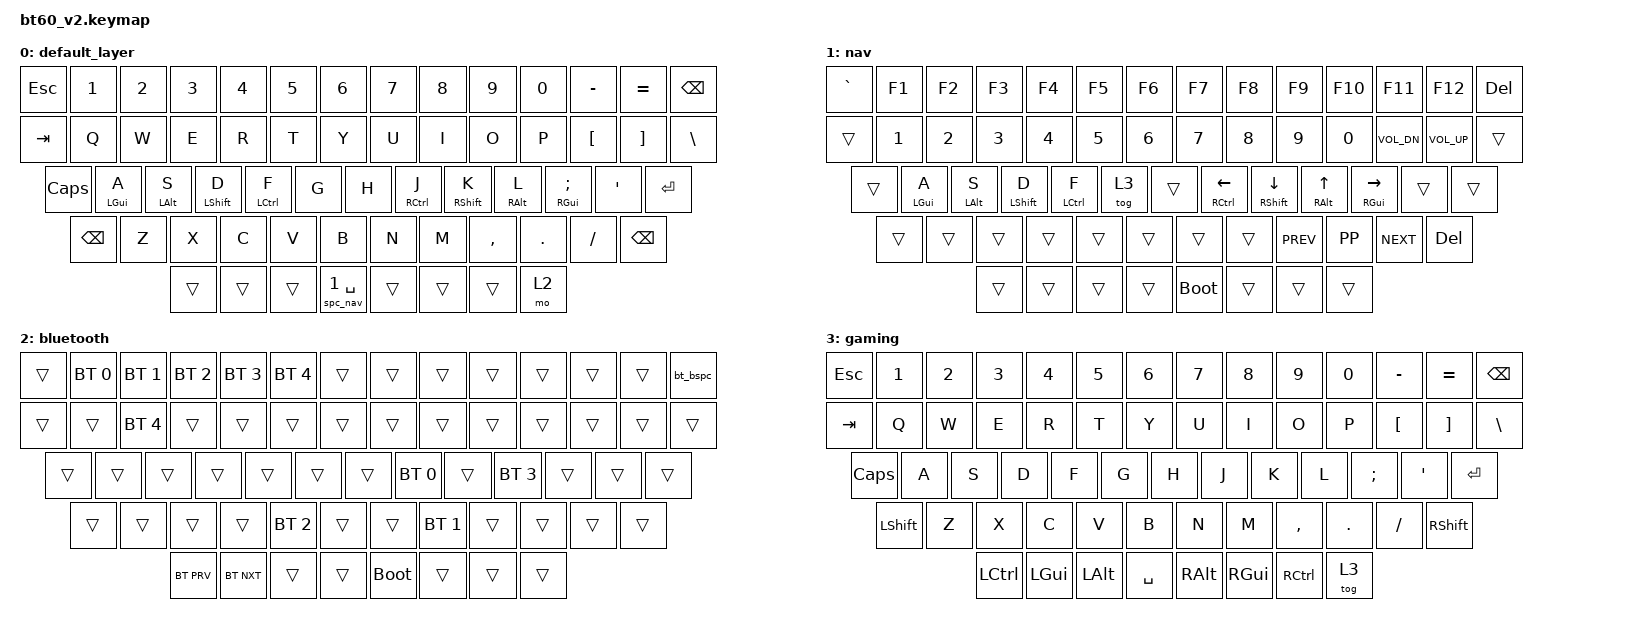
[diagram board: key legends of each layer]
#include <behaviors.dtsi>
#include <dt-bindings/zmk/keys.h>
#include <dt-bindings/zmk/bt.h>
#include <dt-bindings/zmk/rgb.h>
#include <dt-bindings/zmk/backlight.h>

// Include modular configuration files
#include "behaviors.dtsi"
#include "combos.dtsi"


/ {
  
  chosen {
    zmk,physical-layout = &layout_60_ansi;
  };

  keymap {
    compatible = "zmk,keymap";
    
    default_layer {
        // ------------------------------------------------------------------------------------------
        // | ESC |  1  |  2  |  3  |  4  |  5  |  6  |  7  |  8  |  9  |  0  |  -  |  =  |   BSPC   |
        // | TAB  |  Q  |  W  |  E  |  R  |  T  |  Y  |  U  |  I  |  O  |  P  |  [  |  ]  |   \     |
        // | CAPS  |GUI/A|ALT/S|SFT/D|CTL/F|  G  |  H  |CTL/J|SFT/K|ALT/L|GUI/;|  '  |     ENTER    |
        // |  BSPC    |  Z  |  X  |  C  |  V  |  B  |  N  |  M  |  ,  |  .  | /   |      BSPC     |
        // |  ---  |  ---  |  ---  |            SPACE               | --- | --- | --- |   FN   |
        // ------------------------------------------------------------------------------------------
      bindings = <

        &kp ESC &kp N1 &kp N2 &kp N3 &kp N4 &kp N5 &kp N6 &kp N7 &kp  N8   &kp  N9 &kp  N0  &kp MINUS &kp EQUAL &kp BSPC
        &kp TAB  &kp Q  &kp W  &kp E  &kp R  &kp T  &kp Y  &kp U  &kp  I    &kp  O  &kp  P   &kp LBKT &kp RBKT   &kp BSLH
        &kp CAPS  &hml LGUI A  &hml LALT S  &hml LSHFT D  &hml LCTRL F  &kp G  &kp H  &hmr RCTRL J  &hmr RSHFT K    &hmr RALT L  &hmr RGUI SEMI &kp SQT            &kp RET
        &kp BSPC  &kp Z  &kp X  &kp C  &kp V  &kp B  &kp N  &kp M  &kp COMMA &kp DOT &kp FSLH                &kp BSPC
        &trans &trans &trans            &spc_nav 1 SPACE                          &trans  &trans &trans    &mo 2
      >;
    };

    nav {
        // ------------------------------------------------------------------------------------------
        // |GRAVE| F1  | F2  | F3  | F4  | F5  | F6  | F7  | F8  | F9  | F10 | F11 | F12 |    DEL   |
        // |      | 1   | 2   | 3   | 4   | 5   | 6   | 7   | 8   | 9   | 0   | V- | V+ |          |
        // | ---   |GUI/A|ALT/S|SFT/D|CTL/F|GAME|     |CTL/←|SFT/↓|ALT/↑|GUI/→| --- |     ---      |
        // |          |     |     |     |     |     |     |     | PREV | PLAY | NEXT |     DEL      |
        // |     |     |       |            ---                |BOOT |     |     |     |
        // ------------------------------------------------------------------------------------------
      bindings = <
        &kp GRAVE &kp F1 &kp F2 &kp F3 &kp F4 &kp F5 &kp F6 &kp F7 &kp F8 &kp F9 &kp F10 &kp F11 &kp F12 &kp DEL
        &trans &kp N1 &kp N2 &kp N3 &kp N4 &kp N5 &kp N6 &kp N7 &kp N8 &kp N9 &kp N0 &kp C_VOL_DN &kp C_VOL_UP &trans
        &trans &hml LGUI A &hml LALT S &hml LSHFT D &hml LCTRL F &tog 3 &trans &hmr RCTRL LEFT &hmr RSHFT DOWN &hmr RALT UP &hmr RGUI RIGHT &trans &trans
        &trans &trans &trans &trans &trans &trans &trans &trans &kp K_PREV &kp K_PP &kp K_NEXT &kp DEL
        &trans &trans &trans &trans &bootloader &trans &trans &trans
      >;
    };
    
    bluetooth {
        // ------------------------------------------------------------------------------------------
        // | --- | BT1 | BT2 | BT3 | BT4 | BT5 | --- | --- | --- | --- | --- | --- | --- |BT_CLR/ALL|
        // | ---  | --- | BT5 | --- | --- | --- | --- | --- | --- | --- | --- | --- | --- |   ---    |
        // | ---   | --- | --- | --- | --- | --- | --- | BT1 | --- | BT4 | --- | --- |     ---      |
        // |  ---     | --- | --- | --- | BT3 | --- | --- | BT2 | --- | --- | --- |      ---     |
        // |BT_PRV |BT_NXT | ---   |            ---                |BOOT | --- | --- | --- |
        // ------------------------------------------------------------------------------------------
        // BT_CLR/ALL = Clear current profile, Shift+BT_CLR/ALL = Clear all profiles
      bindings = <
        &trans &bt BT_SEL 0 &bt BT_SEL 1 &bt BT_SEL 2 &bt BT_SEL 3 &bt BT_SEL 4 &trans &trans &trans &trans &trans &trans &trans &bt_bspc
        &trans &trans &bt BT_SEL 4 &trans &trans &trans &trans &trans &trans &trans &trans &trans &trans &trans
        &trans &trans &trans &trans &trans &trans &trans &bt BT_SEL 0 &trans &bt BT_SEL 3 &trans &trans &trans
        &trans &trans &trans &trans &bt BT_SEL 2 &trans &trans &bt BT_SEL 1 &trans &trans &trans &trans
        &bt BT_PRV &bt BT_NXT &trans &trans &bootloader &trans &trans &trans
      >;
    };
    
    gaming {
        // Gaming layer - No homerow mods
        // Toggle on/off with FN+G
        // ------------------------------------------------------------------------------------------
        // | ESC |  1  |  2  |  3  |  4  |  5  |  6  |  7  |  8  |  9  |  0  |  -  |  =  |   BSPC   |
        // | TAB  |  Q  |  W  |  E  |  R  |  T  |  Y  |  U  |  I  |  O  |  P  |  [  |  ]  |   \     |
        // | CAPS  |  A  |  S  |  D  |  F  |  G  |  H  |  J  |  K  |  L  |  ;  |  '  |     ENTER    |
        // |  SHIFT    |  Z  |  X  |  C  |  V  |  B  |  N  |  M  |  ,  |  .  | /   |      SHIFT     |
        // |  CTL  |  GUI  |  ALT  |            SPACE                | ALT | GUI | CTL |   FN   |
        // ------------------------------------------------------------------------------------------
      bindings = <
        &kp ESC &kp N1 &kp N2 &kp N3 &kp N4 &kp N5 &kp N6 &kp N7 &kp  N8   &kp  N9 &kp  N0  &kp MINUS &kp EQUAL &kp BSPC
        &kp TAB  &kp Q  &kp W  &kp E  &kp R  &kp T  &kp Y  &kp U  &kp  I    &kp  O  &kp  P   &kp LBKT &kp RBKT   &kp BSLH
        &kp CAPS  &kp A  &kp S  &kp D  &kp F  &kp G  &kp H  &kp J  &kp K    &kp L  &kp SEMI &kp SQT            &kp RET
        &kp LSHFT  &kp Z  &kp X  &kp C  &kp V  &kp B  &kp N  &kp M  &kp COMMA &kp DOT &kp FSLH                &kp RSHFT
        &kp LCTRL &kp LGUI &kp LALT            &kp SPACE                          &kp RALT  &kp RGUI &kp RCTRL    &tog 3
      >;
    };
    
  };
};
